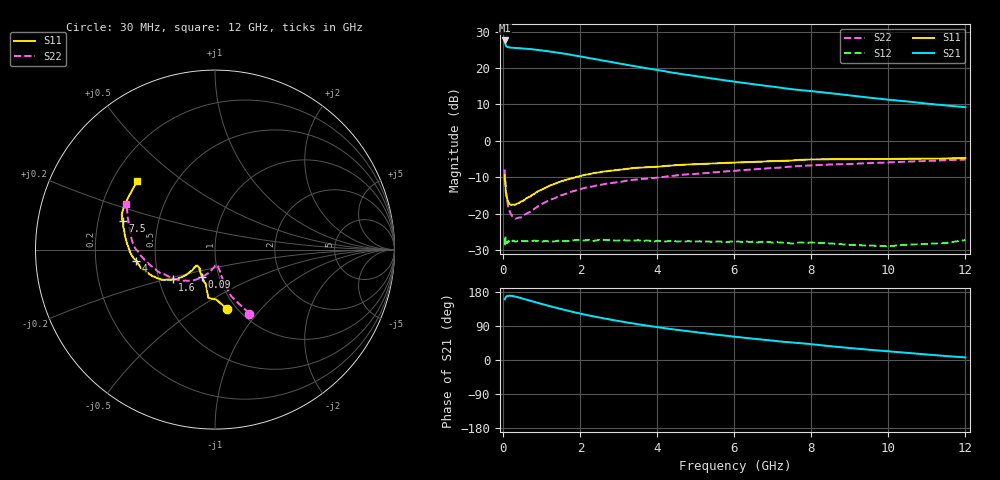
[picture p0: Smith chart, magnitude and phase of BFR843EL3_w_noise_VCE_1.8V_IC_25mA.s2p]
! Infineon Technologies  Discrete & RF Semiconductors
! BFR843EL3
! VCE =  1.8 V,  IC =  25 mA
! Common Emitter S-Parameters:  Aug 2013
# GHz  S  MA  R  50
!  f  S11  S21  S12  S22
! GHz  MAG  ANG  MAG  ANG  MAG  ANG  MAG  ANG
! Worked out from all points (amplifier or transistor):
!   103 points, 30 MHz to 12 GHz, reference 50 ohm
!   highest |S21| = 27.6 dB at 30 MHz (marker M1)
!   |S21| within 3 dB of that: start of sweep to 1.177 GHz
!   unconditionally stable (mu >= 1): 175.6 MHz to 219 MHz; 275.5 MHz to 409.9 MHz; 3.591 GHz to end of sweep
!   at 400 MHz: K = 1.00, MAG = 26.3 dB, |S12| = -27.5 dB
!   at 3.7 GHz: K = 1.00, MAG = 23.5 dB, |S12| = -27.4 dB
!   at 12 GHz: K = 1.98, MAG = 12.6 dB, |S12| = -27.2 dB
!   lowest NFmin = 1.21 dB at 450 MHz
!   S11 on the Smith chart (normalised r, x): 30 MHz: 0.90, -0.68; 90 MHz: 0.83, -0.26; 1.6 GHz: 0.59, -0.21; 4 GHz: 0.39, -0.06; 7.5 GHz: 0.31, +0.14; 12 GHz: 0.30, +0.35
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0.03  0.3397 -78.3  23.93 160.0  0.037 26.9  0.4049 -61.8
0.04  0.2786 -88.6  22.19 161.9  0.0383 21.7  0.3175 -67.0
0.06  0.1966 -105.3  20.46 165.5  0.0368 7.9  0.2228 -72.8
0.09  0.1671 -116.0  19.67 168.2  0.0397 8.8  0.1613 -75.8
0.15  0.1363 -127.7  19.2 169.7  0.0408 5.6  0.1117 -78.7
0.25  0.1339 -136.3  18.98 168.5  0.0429 3.0  0.089 -79.7
0.6  0.1636 -138.1  18.41 159.1  0.042 2.8  0.1005 -93.6
1  0.2157 -138.9  17.44 147.7  0.0417 3.0  0.1364 -106.1
1.3  0.2543 -141.7  16.58 139.6  0.0416 3.2  0.161 -113.6
1.6  0.289 -144.9  15.69 131.9  0.042 3.3  0.1856 -119.4
2.1  0.3419 -150.8  14.1 120.1  0.0429 2.2  0.2254 -129.7
2.6  0.3803 -157.1  12.64 110.0  0.0438 3.8  0.2538 -137.4
3  0.4018 -161.8  11.56 102.7  0.0428 3.5  0.2732 -142.8
3.3  0.4193 -165.0  10.85 97.4  0.0429 3.5  0.2895 -146.3
4  0.4433 -171.9  9.397 86.6  0.0426 3.9  0.3131 -153.8
4.1  0.4464 -172.6  9.21 85.2  0.0422 3.5  0.3166 -154.3
5.1  0.4817 178.8  7.601 72.1  0.0419 5.2  0.3558 -163.5
6.1  0.5067 171.5  6.399 60.5  0.0415 6.4  0.3928 -171.1
7.5  0.5386 162.7  5.118 46.2  0.039 9.8  0.4448 178.8
8.5  0.5608 154.8  4.512 36.3  0.0391 10.5  0.4749 171.0
10.5  0.5686 144.0  3.477 18.8  0.0376 22.5  0.5195 159.6
12  0.5805 138.7  2.903 6.8  0.0435 33.6  0.5547 152.9
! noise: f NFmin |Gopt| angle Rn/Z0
0.45  1.21  0.13  160  0.13
0.9  1.21  0.13  156  0.12
1.5  1.22  0.15  155  0.11
1.9  1.23  0.15  157  0.11
2.4  1.24  0.16  161  0.11
3.5  1.25  0.18  167  0.11
5.5  1.27  0.25  184  0.1
8  1.29  0.35  202  0.09
10  1.32  0.47  222  0.09
